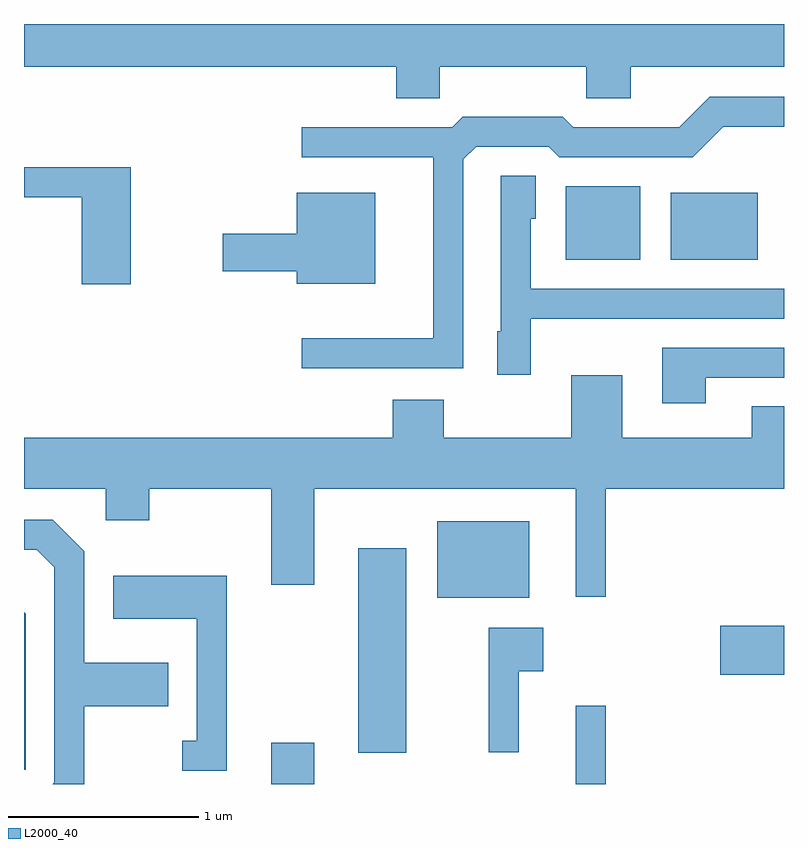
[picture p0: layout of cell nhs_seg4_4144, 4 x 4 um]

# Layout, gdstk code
import gdstk
lib = gdstk.Library(unit=1e-6, precision=1e-09)
def R(c, l, rs):  # rectangles x0, y0, x1, y1
    for r in rs: c.add(gdstk.rectangle(r[:2], r[2:], *l))
def P(c, l, *ps):  # polygons
    for p in ps: c.add(gdstk.Polygon(p, *l))
L2000_40 = (2000, 40)

nhs_seg4_4144 = lib.new_cell('nhs_seg4_4144')
R(nhs_seg4_4144, L2000_40, [(306.911,1381.982,307.139,1382.199), (308.516,1381.982,308.674,1382.393), (307.371,1382.146,307.624,1383.224), (309.276,1382.556,309.611,1382.814), (307.786,1382.961,308.269,1383.364), (308.461,1384.741,308.854,1385.129), (309.016,1384.741,309.474,1385.094)])
P(nhs_seg4_4144, L2000_40, [(307.799,1385.756),(308.571,1385.756),(308.571,1385.591),(308.804,1385.591),(308.804,1385.756),(309.611,1385.756),(309.611,1385.982),(305.611,1385.982),(305.611,1385.756),(307.571,1385.756),(307.571,1385.591),(307.799,1385.591)],
  [(307.924,1385.269),(307.992,1385.336),(308.374,1385.336),(308.429,1385.281),(309.132,1385.281),(309.292,1385.441),(309.611,1385.441),(309.611,1385.599),(309.219,1385.599),(309.059,1385.439),(308.502,1385.439),(308.447,1385.494),(307.919,1385.494),(307.864,1385.439),(307.073,1385.439),(307.073,1385.281),(307.766,1385.281),(307.766,1384.329),(307.073,1384.329),(307.073,1384.171),(307.924,1384.171)],
  [(306.174,1385.229),(305.611,1385.229),(305.611,1385.071),(305.916,1385.071),(305.916,1384.611),(306.174,1384.611)],
  [(308.279,1384.431),(309.611,1384.431),(309.611,1384.589),(308.279,1384.589),(308.279,1384.956),(308.304,1384.956),(308.304,1385.184),(308.121,1385.184),(308.121,1384.364),(308.101,1384.364),(308.101,1384.136),(308.279,1384.136)],
  [(307.459,1385.094),(307.046,1385.094),(307.046,1384.879),(306.656,1384.879),(306.656,1384.681),(307.046,1384.681),(307.046,1384.616),(307.459,1384.616)],
  [(309.199,1384.121),(309.611,1384.121),(309.611,1384.279),(308.971,1384.279),(308.971,1383.986),(309.199,1383.986)],
  [(308.674,1383.536),(309.611,1383.536),(309.611,1383.969),(309.441,1383.969),(309.441,1383.804),(308.759,1383.804),(308.759,1384.134),(308.491,1384.134),(308.491,1383.804),(307.819,1383.804),(307.819,1384.004),(307.551,1384.004),(307.551,1383.804),(305.611,1383.804),(305.611,1383.536),(306.041,1383.536),(306.041,1383.371),(306.269,1383.371),(306.269,1383.536),(306.911,1383.536),(306.911,1383.031),(307.139,1383.031),(307.139,1383.536),(308.516,1383.536),(308.516,1382.968),(308.674,1382.968)],
  [(305.929,1382.391),(306.369,1382.391),(306.369,1382.619),(305.929,1382.619),(305.929,1383.207),(305.762,1383.374),(305.611,1383.374),(305.611,1383.216),(305.679,1383.216),(305.771,1383.124),(305.771,1381.992),(305.761,1381.982),(305.929,1381.982)],
  [(306.679,1383.079),(306.081,1383.079),(306.081,1382.851),(306.521,1382.851),(306.521,1382.209),(306.443,1382.209),(306.443,1382.051),(306.679,1382.051)],
  [(305.619,1382.877),(305.611,1382.885),(305.611,1382.056),(305.619,1382.056)],
  [(308.214,1382.576),(308.344,1382.576),(308.344,1382.804),(308.056,1382.804),(308.056,1382.148),(308.214,1382.148)])

lib.write_gds('nhs_seg4_4144.gds')
